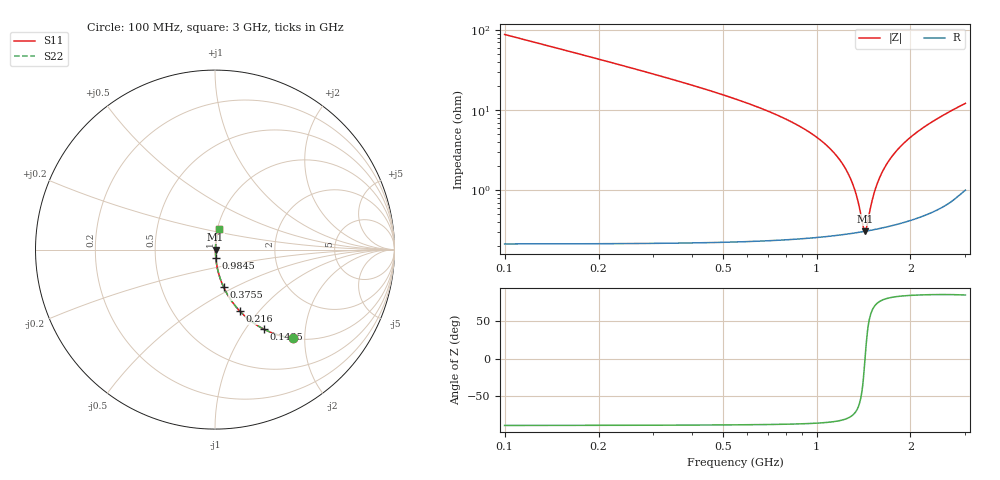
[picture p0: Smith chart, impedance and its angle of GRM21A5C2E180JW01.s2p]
!Murata Part Number: GRM21A5C2E180JW01
!These Parameters are Measured in Series Mode Connection
!Data Generated on Mar 30, 2021
!  o--ll--o
!Port1  Port2
!  o------o
!Operation Temp=25[degC], DC Bias Voltage=0[V]
!Freq. Start=100[MHz] Stop=3[GHz] 401[Steps]
# Hz S RI R 50
!Freq.(Hz) S11(Real) S11(Imag) S21(Real) S21(Imag) S12(Real) S12(Imag) S22(Real) S22(Imag)
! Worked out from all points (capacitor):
!   401 points, 100 MHz to 3 GHz, reference 50 ohm
!   read as one part in series: C = 18 pF near 114.5 MHz
!   lowest |Z| = 309 mohm at 1.427 GHz (marker M1)
!   series resonance near 1.43 GHz, so ESL is about 690 pH
!   S11 on the Smith chart (normalised r, x): 100 MHz: 1.00, -1.76; 143.5 MHz: 1.00, -1.22; 216 MHz: 1.00, -0.80; 375.5 MHz: 1.00, -0.44; 984.5 MHz: 1.01, -0.10; 3 GHz: 1.02, +0.24
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1e8  0.4366 -0.4947  0.5634 0.4947  0.5634 0.4947  0.4366 -0.4947
1.435e8  0.272 -0.4432  0.728 0.4432  0.728 0.4432  0.272 -0.4432
2.16e8  0.1395 -0.3438  0.8605 0.3438  0.8605 0.3438  0.1395 -0.3438
2.8125e8  0.0856 -0.2762  0.9144 0.2762  0.9144 0.2762  0.0856 -0.2762
3.755e8  0.048 -0.2088  0.952 0.2088  0.952 0.2088  0.048 -0.2088
5.8575e8  0.0179 -0.1239  0.9821 0.1239  0.9821 0.1239  0.0179 -0.1239
9.845e8  0.00485 -0.0478  0.9951 0.0478  0.9951 0.0478  0.00485 -0.0478
1.0715e9  0.00399 -0.0368  0.996 0.0368  0.996 0.0368  0.00399 -0.0368
1.19475e9  0.00329 -0.0228  0.9967 0.0228  0.9967 0.0228  0.00329 -0.0228
1.28175e9  0.00307 -0.0139  0.9969 0.0139  0.9969 0.0139  0.00307 -0.0139
1.33975e9  0.00302 -0.00832  0.997 0.00832  0.997 0.00832  0.00302 -0.00832
1.41225e9  0.00305 -0.00162  0.997 0.00162  0.997 0.00162  0.00305 -0.00162
1.42675e9  0.00307 -0.000314  0.9969 0.000314  0.9969 0.000314  0.00307 -0.000314
1.4485e9  0.0031 0.00162  0.9969 -0.00162  0.9969 -0.00162  0.0031 0.00162
1.49925e9  0.00321 0.00605  0.9968 -0.00605  0.9968 -0.00605  0.00321 0.00605
1.55e9  0.00337 0.0104  0.9966 -0.0104  0.9966 -0.0104  0.00337 0.0104
1.62975e9  0.00368 0.0169  0.9963 -0.0169  0.9963 -0.0169  0.00368 0.0169
1.73125e9  0.00421 0.025  0.9958 -0.025  0.9958 -0.025  0.00421 0.025
1.869e9  0.00514 0.0355  0.9949 -0.0355  0.9949 -0.0355  0.00514 0.0355
2.03575e9  0.00659 0.0479  0.9934 -0.0479  0.9934 -0.0479  0.00659 0.0479
2.5215e9  0.013 0.0828  0.987 -0.0828  0.987 -0.0828  0.013 0.0828
3e9  0.024 0.1171  0.976 -0.1171  0.976 -0.1171  0.024 0.1171
